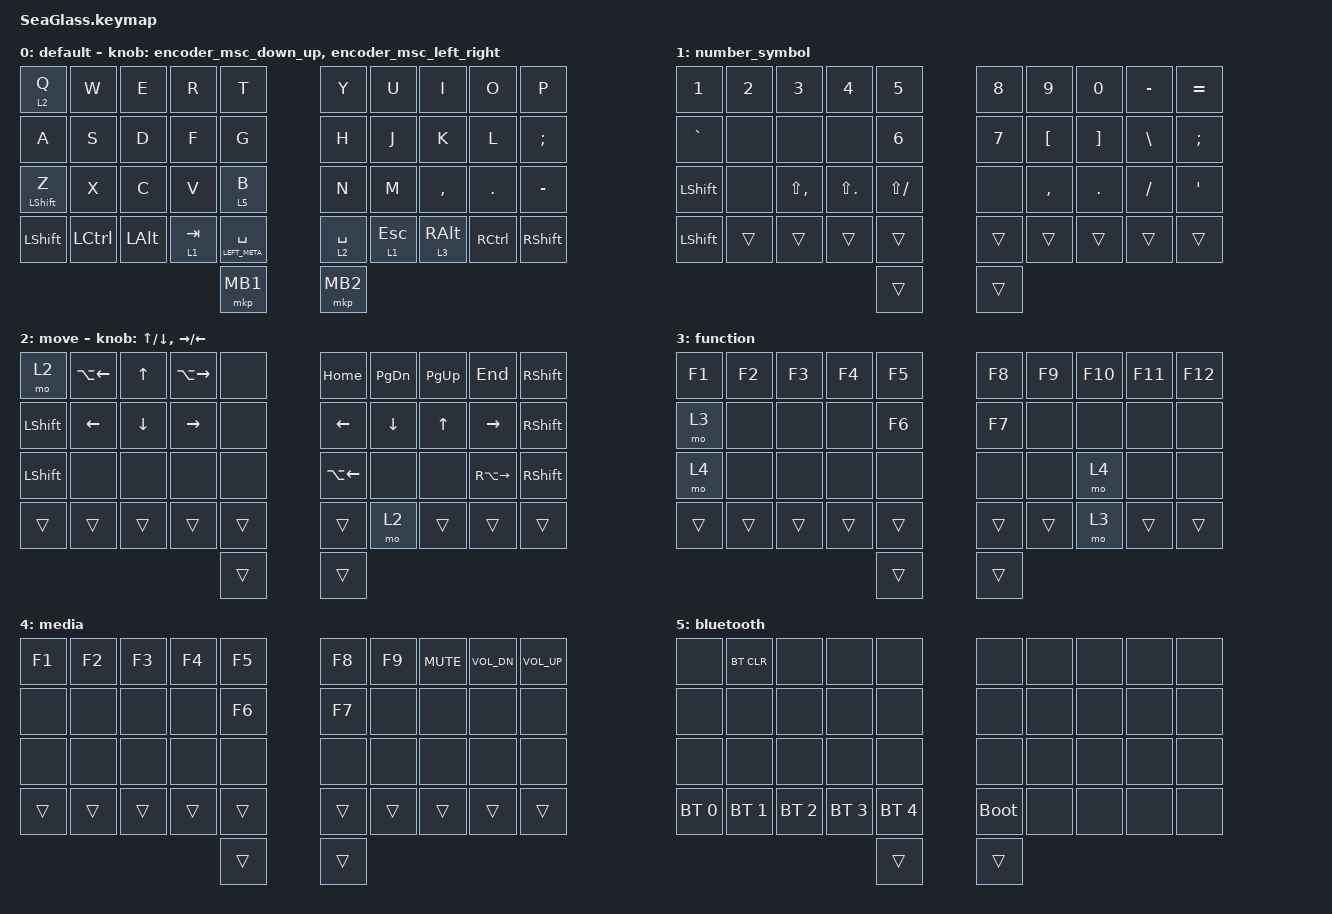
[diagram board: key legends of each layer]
#include <behaviors.dtsi>
#include <dt-bindings/zmk/bt.h>
#include <dt-bindings/zmk/keys.h>
#include <dt-bindings/zmk/pointing.h>

#define MOUSE 4
#define SCROLL 5
#define NUM 6
#define ZMK_POINTING_DEFAULT_SCRL_VAL 120

&mt {
    flavor = "balanced";
    quick-tap-ms = <300>;
};

&lt {
    flavor = "balanced";
    quick-tap-ms = <300>;
};

/ {
    combos {
        compatible = "zmk,combos";

        middle-click {
            bindings = <&mkp MB3>;
            key-positions = <40 41>;
        };

        tab {
            bindings = <&kp TAB>;
            key-positions = <10 11>;
        };

        delete1 {
            bindings = <&bksp_del>;
            key-positions = <8 9>;
        };

        delete2 {
            bindings = <&bksp_del>;
            key-positions = <8 7>;
        };

        enter1 {
            bindings = <&kp ENTER>;
            key-positions = <18 17>;
        };

        enter2 {
            bindings = <&kp ENTER>;
            key-positions = <16 17>;
        };
    };

    macros {
        to_layer_0: to_layer_0 {
            compatible = "zmk,behavior-macro-one-param";
            #binding-cells = <1>;
            bindings = <&to 0 &macro_param_1to1 &kp MACRO_PLACEHOLDER>;
            label = "TO_LAYER_0";
        };
    };

    behaviors {
        lt_to_layer_0: lt_to_layer_0 {
            compatible = "zmk,behavior-hold-tap";
            label = "LAYER_TAP_TO_0";
            bindings = <&mo>, <&to_layer_0>;

            #binding-cells = <2>;
            tapping-term-ms = <200>;
        };

        encoder_msc_down_up: encoder_msc_down_up {
            compatible = "zmk,behavior-sensor-rotate";
            label = "ENCODER_MSC_DOWN_UP";
            #sensor-binding-cells = <0>;
            bindings = <&msc SCRL_UP>, <&msc SCRL_DOWN>;

            tap-ms = <20>;
        };

        encoder_msc_left_right: encoder_msc_left_right {
            compatible = "zmk,behavior-sensor-rotate";
            label = "ENCODER_MSC_LEFT_RIGHT";
            #sensor-binding-cells = <0>;
            bindings = <&msc SCRL_LEFT>, <&msc SCRL_RIGHT>;

            tap-ms = <20>;
        };

        bksp_del: bksp_del {
            compatible = "zmk,behavior-mod-morph";
            label = "BKSP_DEL";
            bindings = <&kp BACKSPACE>, <&kp DELETE>;

            #binding-cells = <0>;
            mods = <(MOD_RSFT|MOD_LSFT)>;
        };
    };

    keymap {
        compatible = "zmk,keymap";

        default {
            bindings = <
&lt 2 Q           &kp W      &kp E         &kp R      &kp T                &kp Y        &kp U         &kp I            &kp O              &kp P
&kp A             &kp S      &kp D         &kp F      &kp G                &kp H        &kp J         &kp K            &kp L              &kp SEMI
&mt LEFT_SHIFT Z  &kp X      &kp C         &kp V      &lt 5 B              &kp N        &kp M         &kp COMMA        &kp PERIOD         &kp MINUS
&kp LEFT_SHIFT    &kp LCTRL  &kp LEFT_ALT  &lt 1 TAB  &mt LEFT_META SPACE  &lt 2 SPACE  &lt 1 ESCAPE  &lt 3 RIGHT_ALT  &kp RIGHT_CONTROL  &kp RIGHT_SHIFT
&mkp MB1          &mkp MB2
            >;

            sensor-bindings = <&encoder_msc_down_up>, <&encoder_msc_left_right>;
        };

        number_symbol {
            bindings = <
&kp NUMBER_1    &kp N2  &kp N3         &kp N4       &kp N5        &kp N8  &kp N9     &kp N0    &kp MINUS      &kp EQUAL
&kp GRAVE       &none   &none          &none        &kp NUMBER_6  &kp N7  &kp LBKT   &kp RBKT  &kp BACKSLASH  &kp SEMICOLON
&kp LEFT_SHIFT  &none   &kp LS(COMMA)  &kp LS(DOT)  &kp LS(FSLH)  &none   &kp COMMA  &kp DOT   &kp SLASH      &kp APOS
&kp LSHFT       &trans  &trans         &trans       &trans        &trans  &trans     &trans    &trans         &trans
&trans          &trans
            >;
        };

        move {
            bindings = <
&mo 2           &kp LA(LEFT_ARROW)  &kp UP_ARROW    &kp LA(RIGHT_ARROW)  &none   &kp HOME            &kp PAGE_DOWN   &kp PAGE_UP   &kp END          &kp RSHFT
&kp LEFT_SHIFT  &kp LEFT_ARROW      &kp DOWN_ARROW  &kp RIGHT_ARROW      &none   &kp LEFT_ARROW      &kp DOWN_ARROW  &kp UP_ARROW  &kp RIGHT_ARROW  &kp RSHFT
&kp LEFT_SHIFT  &none               &none           &none                &none   &kp LA(LEFT_ARROW)  &none           &none         &kp RA(RIGHT)    &kp RSHFT
&trans          &trans              &trans          &trans               &trans  &trans              &mo 2           &trans        &trans           &trans
&trans          &trans
            >;

            sensor-bindings =
                <&inc_dec_kp UP_ARROW DOWN_ARROW>,
                <&inc_dec_kp RIGHT_ARROW LEFT_ARROW>;
        };

        function {
            bindings = <
&kp F1  &kp F2  &kp F3  &kp F4  &kp F5  &kp F8  &kp F9  &kp F10  &kp F11  &kp F12
&mo 3   &none   &none   &none   &kp F6  &kp F7  &none   &none    &none    &none
&mo 4   &none   &none   &none   &none   &none   &none   &mo 4    &none    &none
&trans  &trans  &trans  &trans  &trans  &trans  &trans  &mo 3    &trans   &trans
&trans  &trans
            >;
        };

        media {
            bindings = <
&kp F1  &kp F2  &kp F3  &kp F4  &kp F5  &kp F8  &kp F9  &kp C_MUTE  &kp C_VOL_DN  &kp C_VOL_UP
&none   &none   &none   &none   &kp F6  &kp F7  &none   &none       &none         &none
&none   &none   &none   &none   &none   &none   &none   &none       &none         &none
&trans  &trans  &trans  &trans  &trans  &trans  &trans  &trans      &trans        &trans
&trans  &trans
            >;
        };

        bluetooth {
            bindings = <
&none         &bt BT_CLR    &none         &none         &none         &none        &none  &none  &none  &none
&none         &none         &none         &none         &none         &none        &none  &none  &none  &none
&none         &none         &none         &none         &none         &none        &none  &none  &none  &none
&bt BT_SEL 0  &bt BT_SEL 1  &bt BT_SEL 2  &bt BT_SEL 3  &bt BT_SEL 4  &bootloader  &none  &none  &none  &none
&trans        &trans
            >;
        };
    };
};
